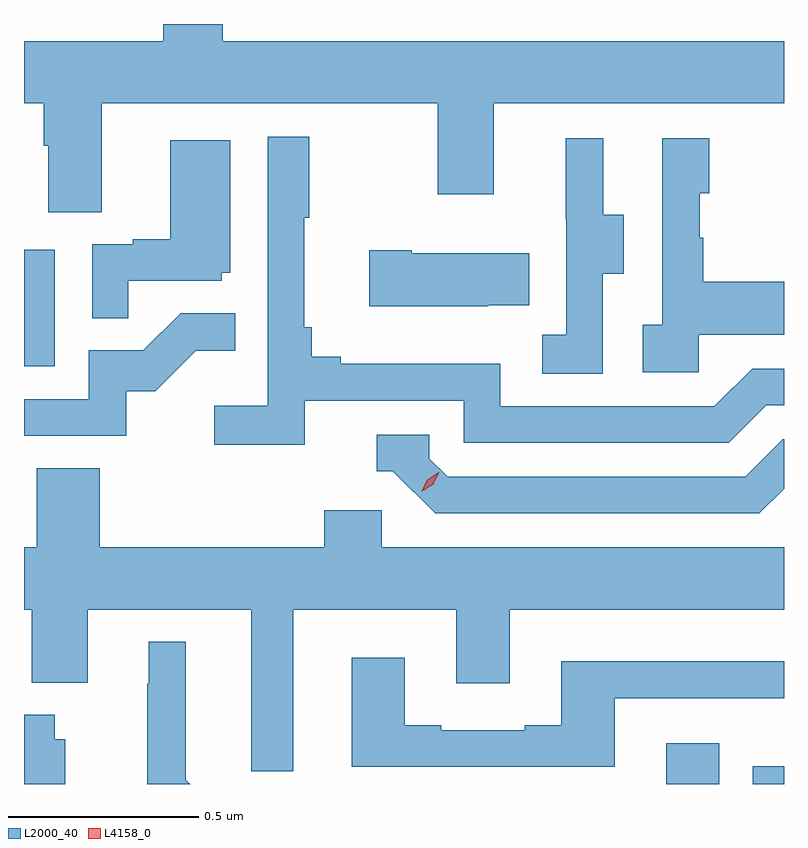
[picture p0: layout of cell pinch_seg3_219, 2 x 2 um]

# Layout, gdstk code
import gdstk
lib = gdstk.Library(unit=1e-6, precision=1e-09)
def R(c, l, rs):  # rectangles x0, y0, x1, y1
    for r in rs: c.add(gdstk.rectangle(r[:2], r[2:], *l))
def P(c, l, *ps):  # polygons
    for p in ps: c.add(gdstk.Polygon(p, *l))
L2000_40 = (2000, 40)
L4158_0 = (4158, 0)

pinch_seg3_219 = lib.new_cell('pinch_seg3_219')
R(pinch_seg3_219, L2000_40, [(943.205,735.089,943.345,735.196), (943.433,735.089,943.515,735.136), (941.515,736.188,941.596,736.495)])
P(pinch_seg3_219, L2000_40, [(941.719,736.88),(942.604,736.88),(942.604,736.641),(942.751,736.641),(942.751,736.88),(943.515,736.88),(943.515,737.044),(942.038,737.044),(942.038,737.089),(941.881,737.089),(941.881,737.044),(941.515,737.044),(941.515,736.88),(941.567,736.88),(941.567,736.768),(941.579,736.768),(941.579,736.594),(941.719,736.594)],
  [(942.254,736.098),(942.672,736.098),(942.672,735.987),(943.369,735.987),(943.468,736.086),(943.515,736.086),(943.515,736.182),(943.431,736.182),(943.332,736.083),(942.768,736.083),(942.768,736.195),(942.349,736.195),(942.349,736.214),(942.272,736.214),(942.272,736.291),(942.253,736.291),(942.253,736.579),(942.265,736.579),(942.265,736.792),(942.156,736.792),(942.156,736.084),(942.015,736.084),(942.015,735.982),(942.254,735.982)],
  [(943.29,736.271),(943.515,736.271),(943.515,736.411),(943.303,736.411),(943.303,736.526),(943.293,736.526),(943.293,736.644),(943.318,736.644),(943.318,736.789),(943.194,736.789),(943.194,736.298),(943.143,736.298),(943.143,736.173),(943.29,736.173)],
  [(943.038,736.432),(943.093,736.432),(943.093,736.587),(943.039,736.587),(943.039,736.789),(942.941,736.789),(942.941,736.575),(942.942,736.575),(942.942,736.271),(942.879,736.271),(942.879,736.168),(943.038,736.168)],
  [(941.789,736.413),(942.036,736.413),(942.036,736.434),(942.058,736.434),(942.058,736.783),(941.9,736.783),(941.9,736.522),(941.801,736.522),(941.801,736.509),(941.694,736.509),(941.694,736.315),(941.789,736.315)],
  [(942.737,736.349),(942.845,736.349),(942.845,736.486),(942.535,736.486),(942.535,736.494),(942.423,736.494),(942.423,736.346),(942.737,736.346)],
  [(941.784,736.122),(941.86,736.122),(941.967,736.229),(942.071,736.229),(942.071,736.328),(941.927,736.328),(941.829,736.23),(941.685,736.23),(941.685,736.101),(941.515,736.101),(941.515,736.005),(941.784,736.005)],
  [(943.515,735.866),(943.515,735.996),(943.512,735.996),(943.413,735.897),(942.63,735.897),(942.582,735.945),(942.582,736.008),(942.443,736.008),(942.443,735.912),(942.486,735.912),(942.597,735.801),(943.45,735.801)],
  [(942.223,735.548),(942.653,735.548),(942.653,735.354),(942.793,735.354),(942.793,735.548),(943.515,735.548),(943.515,735.712),(942.456,735.712),(942.456,735.81),(942.305,735.81),(942.305,735.712),(941.714,735.712),(941.714,735.92),(941.549,735.92),(941.549,735.712),(941.515,735.712),(941.515,735.548),(941.536,735.548),(941.536,735.356),(941.683,735.356),(941.683,735.548),(942.113,735.548),(942.113,735.123),(942.223,735.123)],
  [(941.941,735.1),(941.941,735.463),(941.843,735.463),(941.843,735.353),(941.839,735.353),(941.839,735.089),(941.952,735.089)],
  [(943.069,735.315),(943.515,735.315),(943.515,735.412),(942.929,735.412),(942.929,735.244),(942.833,735.244),(942.833,735.231),(942.613,735.231),(942.613,735.244),(942.517,735.244),(942.517,735.421),(942.377,735.421),(942.377,735.134),(943.069,735.134)],
  [(941.623,735.207),(941.596,735.207),(941.596,735.271),(941.515,735.271),(941.515,735.089),(941.623,735.089)])
P(pinch_seg3_219, L4158_0, [(942.56,735.858),(942.56,735.858),(942.576,735.89),(942.607,735.91),(942.608,735.91),(942.608,735.909),(942.591,735.877),(942.56,735.858)])

lib.write_gds('pinch_seg3_219.gds')
